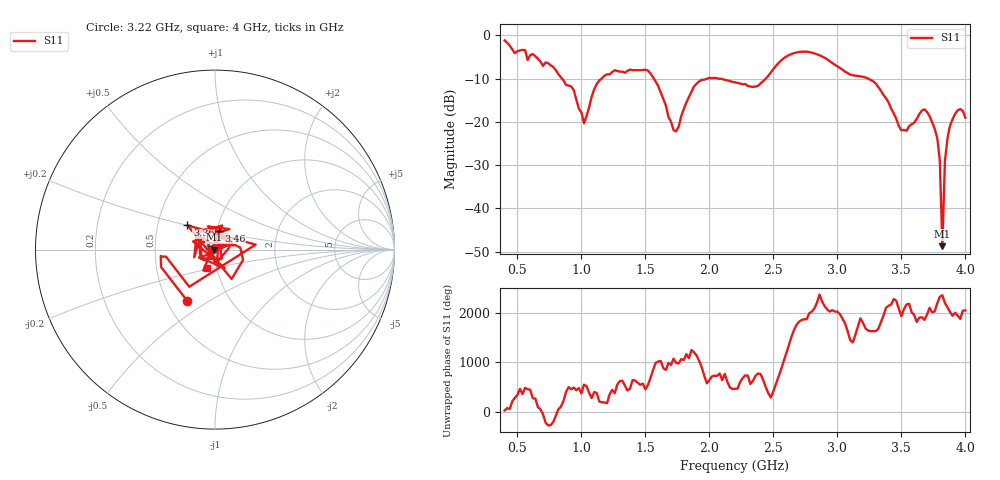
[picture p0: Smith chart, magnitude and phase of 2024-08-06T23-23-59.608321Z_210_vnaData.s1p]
!Created with skrf (http://scikit-rf.org).
# Hz S RI R 50.0
!freq ReS11 ImS11
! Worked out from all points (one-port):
!   181 points, 400 MHz to 4 GHz, reference 50 ohm
!   lowest |S11| = -48.7 dB at 3.82 GHz (marker M1), VSWR 1.01, Z = 49.6 - j0.0725 ohm
!   |S11| at or under -10 dB: 1.566 GHz to 1.984 GHz (417.9 MHz wide, 23.5 % of centre); 2.068 GHz to 2.441 GHz (372.9 MHz wide, 16.5 % of centre); 3.239 GHz to end of sweep (the widest 3 of 4)
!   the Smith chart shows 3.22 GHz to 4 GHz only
!   S11 on the Smith chart (normalised r, x): 3.22 GHz: 0.63, -0.40; 3.36 GHz: 0.71, +0.20; 3.46 GHz: 1.02, +0.22; 4 GHz: 0.90, -0.19
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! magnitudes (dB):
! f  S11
! 400 MHz  -1.2
! 860 MHz  -10.4
! 940 MHz  -12.7
! 1.02 GHz  -20.3
! 1.12 GHz  -11.2
! 1.3 GHz  -8.4
! 1.52 GHz  -8.2
! 1.6 GHz  -11.7
! 1.72 GHz  -21.9
! 1.76 GHz  -21.1
! 1.92 GHz  -10.6
! 2.2 GHz  -10.9
! 2.38 GHz  -11.7
! 2.66 GHz  -4.1
! 3.1 GHz  -9.1
! 3.22 GHz  -9.8
! 3.36 GHz  -13.8
! 3.46 GHz  -19.3
! 3.5 GHz  -22.0
! 3.56 GHz  -21.0
! 3.68 GHz  -17.1
! 3.78 GHz  -23.7
! 3.8 GHz  -28.9
! 3.82 GHz  -48.7
! 3.84 GHz  -29.1
! 3.86 GHz  -23.8
! 3.94 GHz  -17.3
! 4 GHz  -19.0
